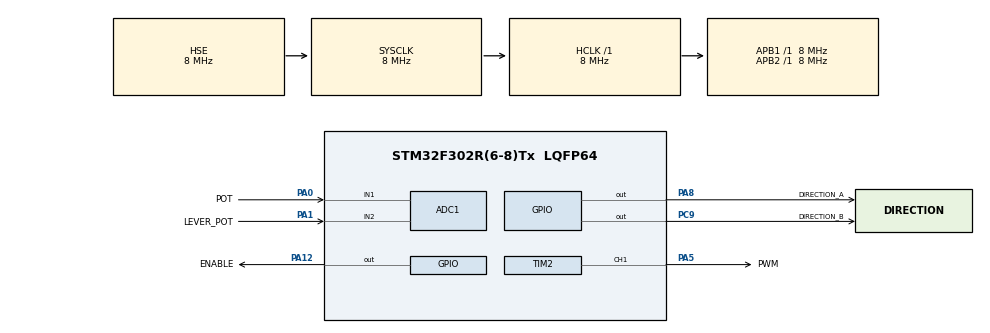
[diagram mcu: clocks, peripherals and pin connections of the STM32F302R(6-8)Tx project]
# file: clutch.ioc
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ADC1.Channel-0\#ChannelRegularConversion=ADC_CHANNEL_1
ADC1.Channel-1\#ChannelRegularConversion=ADC_CHANNEL_2
ADC1.ClockPrescaler=ADC_CLOCK_ASYNC_DIV1
ADC1.ContinuousConvMode=ENABLE
ADC1.DMAContinuousRequests=ENABLE
ADC1.NbrOfConversion=2
ADC1.NbrOfConversionFlag=1
ADC1.Offset-0\#ChannelRegularConversion=0
ADC1.Offset-1\#ChannelRegularConversion=0
ADC1.OffsetNumber-0\#ChannelRegularConversion=ADC_OFFSET_NONE
ADC1.OffsetNumber-1\#ChannelRegularConversion=ADC_OFFSET_NONE
ADC1.Rank-0\#ChannelRegularConversion=1
ADC1.Rank-1\#ChannelRegularConversion=2
ADC1.SamplingTime-0\#ChannelRegularConversion=ADC_SAMPLETIME_61CYCLES_5
ADC1.SamplingTime-1\#ChannelRegularConversion=ADC_SAMPLETIME_181CYCLES_5
ADC1.SamplingTimeOPAMP-1\#ChannelRegularConversion=ADC_SAMPLETIME_1CYCLE_5
ADC1.SubFamily=STM32F302x8
ADC1.master=1
Dma.ADC1.0.Direction=DMA_PERIPH_TO_MEMORY
Dma.ADC1.0.Instance=DMA1_Channel1
Dma.ADC1.0.MemDataAlignment=DMA_MDATAALIGN_HALFWORD
Dma.ADC1.0.MemInc=DMA_MINC_ENABLE
Dma.ADC1.0.Mode=DMA_CIRCULAR
Dma.ADC1.0.PeriphDataAlignment=DMA_PDATAALIGN_HALFWORD
Dma.ADC1.0.PeriphInc=DMA_PINC_DISABLE
Dma.ADC1.0.Priority=DMA_PRIORITY_LOW
Dma.Request0=ADC1
Mcu.Family=STM32F3
Mcu.Name=STM32F302R(6-8)Tx
Mcu.Package=LQFP64
NVIC.DMA1_Channel1_IRQn=true\:0\:0\:false\:false\:true\:false\:true\:true
NVIC.PriorityGroup=NVIC_PRIORITYGROUP_4
NVIC.TIM6_DAC_IRQn=true\:0\:0\:false\:false\:true\:true\:true\:true
PA0.GPIO_Label=POT
PA0.Mode=IN1-Single-Ended
PA0.Signal=ADC1_IN1
PA1.GPIO_Label=LEVER_POT
PA1.Mode=IN2-Single-Ended
PA1.Signal=ADC1_IN2
PA12.GPIO_Label=ENABLE
PA12.PinState=GPIO_PIN_SET
PA12.Signal=GPIO_Output
PA5.GPIO_Label=PWM
PA5.Signal=S_TIM2_CH1_ETR
PA8.GPIO_Label=DIRECTION_A
PA8.GPIO_Speed=GPIO_SPEED_FREQ_HIGH
PA8.Signal=GPIO_Output
PC9.GPIO_Label=DIRECTION_B
PC9.GPIO_Speed=GPIO_SPEED_FREQ_HIGH
PC9.Signal=GPIO_Output
PF0-OSC_IN.Mode=HSE-External-Oscillator
PF0-OSC_IN.Signal=RCC_OSC_IN
PF1-OSC_OUT.Mode=HSE-External-Oscillator
PF1-OSC_OUT.Signal=RCC_OSC_OUT
ProjectManager.HeapSize=0x200
ProjectManager.StackSize=0x400
ProjectManager.TargetToolchain=STM32CubeIDE
RCC.ADC12PRES=RCC_ADC1PLLCLK_DIV8
RCC.AHBFreq_Value=8000000
RCC.APB1Freq_Value=8000000
RCC.APB1TimFreq_Value=8000000
RCC.APB2Freq_Value=8000000
RCC.APB2TimFreq_Value=8000000
RCC.CortexFreq_Value=8000000
RCC.HCLKFreq_Value=8000000
RCC.HSE_VALUE=8000000
RCC.HSI_VALUE=8000000
RCC.LSE_VALUE=32768
RCC.PLLMUL=RCC_PLL_MUL4
RCC.SYSCLKFreq_VALUE=8000000
RCC.SYSCLKSourceVirtual=RCC_SYSCLKSOURCE_HSE
RCC.USBFreq_Value=16000000
SH.S_TIM2_CH1_ETR.0=TIM2_CH1,PWM Generation1 CH1
TIM2.Channel-PWM\ Generation1\ CH1=TIM_CHANNEL_1
TIM2.Period=100-1
TIM2.Prescaler=8-1
TIM6.Period=10-1
TIM6.Prescaler=100-1
VP_TIM6_VS_ClockSourceINT.Mode=Enable_Timer
board=custom

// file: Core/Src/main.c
/* USER CODE BEGIN Header */
/**
  ******************************************************************************
  * @file           : main.c
  * @brief          : Main program body
  ******************************************************************************
  * @attention
  *
  * Copyright (c) 2022 STMicroelectronics.
  * All rights reserved.
  *
  * This software is licensed under terms that can be found in the LICENSE file
  * in the root directory of this software component.
  * If no LICENSE file comes with this software, it is provided AS-IS.
  *
  ******************************************************************************
  */
/* USER CODE END Header */
#include "main.h"

/* USER CODE BEGIN PD */
#define POT 0
#define LEVER 1
#define CURRENT 2
/* USER CODE END PD */

 ADC_HandleTypeDef hadc1;
DMA_HandleTypeDef hdma_adc1;

TIM_HandleTypeDef htim2;
TIM_HandleTypeDef htim6;

void SystemClock_Config(void);
static void MX_GPIO_Init(void);
static void MX_DMA_Init(void);
static void MX_ADC1_Init(void);
static void MX_TIM2_Init(void);
static void MX_TIM6_Init(void);

/* USER CODE BEGIN 0 */
//SET Direction

//PID
const PIDSaturation saturations = {
	min: 0.2f,
	max: 0.8f,
};

const PIDParameters parameters = {
	p: 7.53f * 3.0f*3.0f,
	i: 8.6f * 3.0f,
	d: 1.4f * 1.5f,
};

const float sampleTime = 1.0f / 80000.0f;
const float tau =1.0f / 14565.0f;
PID pid;

//CLUTCH
const ClutchIndexes indexes = {
	motorPotentiometer: POT,
	lever: LEVER,
	//current: CURRENT,
};

Clutch clutch;

// ADC arrays
AdcValue ADC_values[BUFFER_LENGTH];

/* USER CODE END 0 */

int main(void)
{

  /* MCU Configuration--------------------------------------------------------*/

  /* Reset of all peripherals, Initializes the Flash interface and the Systick. */
  HAL_Init();

  /* Configure the system clock */
  SystemClock_Config();

  /* Initialize all configured peripherals */
  MX_GPIO_Init();
  MX_DMA_Init();
  MX_ADC1_Init();
  MX_TIM2_Init();
  MX_TIM6_Init();
  /* USER CODE BEGIN 2 */
	pid = PIDInit(
		saturations,
		parameters,
		sampleTime,
		tau
	);

	ClutchPID clutchPID = {
		pid1: &pid,
	};

	clutch = clutchInit(indexes, clutchPID, ADC_values);

  HAL_ADC_Start_DMA(&hadc1, (uint16_t *)ADC_values, BUFFER_LENGTH);

  HAL_TIM_Base_Start(&htim2); // TIM2 Start
  HAL_TIM_PWM_Start(&htim2, TIM_CHANNEL_1); // PWM Start on TIM2
  HAL_TIM_Base_Start_IT(&htim6); // PID Sampling timer start
  /* USER CODE END 2 */

  /* Infinite loop */
  /* USER CODE BEGIN WHILE */
  while (1) {}
  /* USER CODE END 3 */
}

void SystemClock_Config(void)
{
  RCC_OscInitTypeDef RCC_OscInitStruct = {0};
  RCC_ClkInitTypeDef RCC_ClkInitStruct = {0};
  RCC_PeriphCLKInitTypeDef PeriphClkInit = {0};

  /** Initializes the RCC Oscillators according to the specified parameters
  * in the RCC_OscInitTypeDef structure.
  */
  RCC_OscInitStruct.OscillatorType = RCC_OSCILLATORTYPE_HSI|RCC_OSCILLATORTYPE_HSE;
  RCC_OscInitStruct.HSEState = RCC_HSE_ON;
  RCC_OscInitStruct.HSIState = RCC_HSI_ON;
  RCC_OscInitStruct.HSICalibrationValue = RCC_HSICALIBRATION_DEFAULT;
  RCC_OscInitStruct.PLL.PLLState = RCC_PLL_ON;
  RCC_OscInitStruct.PLL.PLLSource = RCC_PLLSOURCE_HSI;
  RCC_OscInitStruct.PLL.PLLMUL = RCC_PLL_MUL4;
  if (HAL_RCC_OscConfig(&RCC_OscInitStruct) != HAL_OK)
  {
    Error_Handler();
  }

  /** Initializes the CPU, AHB and APB buses clocks
  */
  RCC_ClkInitStruct.ClockType = RCC_CLOCKTYPE_HCLK|RCC_CLOCKTYPE_SYSCLK
                              |RCC_CLOCKTYPE_PCLK1|RCC_CLOCKTYPE_PCLK2;
  RCC_ClkInitStruct.SYSCLKSource = RCC_SYSCLKSOURCE_HSE;
  RCC_ClkInitStruct.AHBCLKDivider = RCC_SYSCLK_DIV1;
  RCC_ClkInitStruct.APB1CLKDivider = RCC_HCLK_DIV1;
  RCC_ClkInitStruct.APB2CLKDivider = RCC_HCLK_DIV1;

  if (HAL_RCC_ClockConfig(&RCC_ClkInitStruct, FLASH_LATENCY_0) != HAL_OK)
  {
    Error_Handler();
  }
  PeriphClkInit.PeriphClockSelection = RCC_PERIPHCLK_ADC1;
  PeriphClkInit.Adc1ClockSelection = RCC_ADC1PLLCLK_DIV8;

  if (HAL_RCCEx_PeriphCLKConfig(&PeriphClkInit) != HAL_OK)
  {
    Error_Handler();
  }
}

static void MX_ADC1_Init(void)
{

  ADC_ChannelConfTypeDef sConfig = {0};

  /** Common config
  */
  hadc1.Instance = ADC1;
  hadc1.Init.ClockPrescaler = ADC_CLOCK_ASYNC_DIV1;
  hadc1.Init.Resolution = ADC_RESOLUTION_12B;
  hadc1.Init.ScanConvMode = ADC_SCAN_ENABLE;
  hadc1.Init.ContinuousConvMode = ENABLE;
  hadc1.Init.DiscontinuousConvMode = DISABLE;
  hadc1.Init.ExternalTrigConvEdge = ADC_EXTERNALTRIGCONVEDGE_NONE;
  hadc1.Init.ExternalTrigConv = ADC_SOFTWARE_START;
  hadc1.Init.DataAlign = ADC_DATAALIGN_RIGHT;
  hadc1.Init.NbrOfConversion = 2;
  hadc1.Init.DMAContinuousRequests = ENABLE;
  hadc1.Init.EOCSelection = ADC_EOC_SINGLE_CONV;
  hadc1.Init.LowPowerAutoWait = DISABLE;
  hadc1.Init.Overrun = ADC_OVR_DATA_OVERWRITTEN;
  if (HAL_ADC_Init(&hadc1) != HAL_OK)
  {
    Error_Handler();
  }

  /** Configure Regular Channel
  */
  sConfig.Channel = ADC_CHANNEL_1;
  sConfig.Rank = ADC_REGULAR_RANK_1;
  sConfig.SingleDiff = ADC_SINGLE_ENDED;
  sConfig.SamplingTime = ADC_SAMPLETIME_61CYCLES_5;
  sConfig.OffsetNumber = ADC_OFFSET_NONE;
  sConfig.Offset = 0;
  if (HAL_ADC_ConfigChannel(&hadc1, &sConfig) != HAL_OK)
  {
    Error_Handler();
  }

  /** Configure Regular Channel
  */
  sConfig.Channel = ADC_CHANNEL_2;
  sConfig.Rank = ADC_REGULAR_RANK_2;
  sConfig.SamplingTime = ADC_SAMPLETIME_181CYCLES_5;
  if (HAL_ADC_ConfigChannel(&hadc1, &sConfig) != HAL_OK)
  {
    Error_Handler();
  }

}

static void MX_TIM2_Init(void)
{

  TIM_MasterConfigTypeDef sMasterConfig = {0};
  TIM_OC_InitTypeDef sConfigOC = {0};

  htim2.Instance = TIM2;
  htim2.Init.Prescaler = 8-1;
  htim2.Init.CounterMode = TIM_COUNTERMODE_UP;
  htim2.Init.Period = 100-1;
  htim2.Init.ClockDivision = TIM_CLOCKDIVISION_DIV1;
  htim2.Init.AutoReloadPreload = TIM_AUTORELOAD_PRELOAD_DISABLE;
  if (HAL_TIM_PWM_Init(&htim2) != HAL_OK)
  {
    Error_Handler();
  }
  sMasterConfig.MasterOutputTrigger = TIM_TRGO_RESET;
  sMasterConfig.MasterSlaveMode = TIM_MASTERSLAVEMODE_DISABLE;
  if (HAL_TIMEx_MasterConfigSynchronization(&htim2, &sMasterConfig) != HAL_OK)
  {
    Error_Handler();
  }
  sConfigOC.OCMode = TIM_OCMODE_PWM1;
  sConfigOC.Pulse = 0;
  sConfigOC.OCPolarity = TIM_OCPOLARITY_HIGH;
  sConfigOC.OCFastMode = TIM_OCFAST_DISABLE;
  if (HAL_TIM_PWM_ConfigChannel(&htim2, &sConfigOC, TIM_CHANNEL_1) != HAL_OK)
  {
    Error_Handler();
  }
  HAL_TIM_MspPostInit(&htim2);

}

static void MX_TIM6_Init(void)
{

  TIM_MasterConfigTypeDef sMasterConfig = {0};

  htim6.Instance = TIM6;
  htim6.Init.Prescaler = 100-1;
  htim6.Init.CounterMode = TIM_COUNTERMODE_UP;
  htim6.Init.Period = 10-1;
  htim6.Init.AutoReloadPreload = TIM_AUTORELOAD_PRELOAD_DISABLE;
  if (HAL_TIM_Base_Init(&htim6) != HAL_OK)
  {
    Error_Handler();
  }
  sMasterConfig.MasterOutputTrigger = TIM_TRGO_RESET;
  sMasterConfig.MasterSlaveMode = TIM_MASTERSLAVEMODE_DISABLE;
  if (HAL_TIMEx_MasterConfigSynchronization(&htim6, &sMasterConfig) != HAL_OK)
  {
    Error_Handler();
  }

}

static void MX_DMA_Init(void)
{

  /* DMA controller clock enable */
  __HAL_RCC_DMA1_CLK_ENABLE();

  /* DMA interrupt init */
  /* DMA1_Channel1_IRQn interrupt configuration */
  HAL_NVIC_SetPriority(DMA1_Channel1_IRQn, 0, 0);
  HAL_NVIC_EnableIRQ(DMA1_Channel1_IRQn);

}

static void MX_GPIO_Init(void)
{
  GPIO_InitTypeDef GPIO_InitStruct = {0};

  /* GPIO Ports Clock Enable */
  __HAL_RCC_GPIOF_CLK_ENABLE();
  __HAL_RCC_GPIOA_CLK_ENABLE();
  __HAL_RCC_GPIOC_CLK_ENABLE();

  /*Configure GPIO pin Output Level */
  HAL_GPIO_WritePin(DIRECTION_B_GPIO_Port, DIRECTION_B_Pin, GPIO_PIN_RESET);

  /*Configure GPIO pin Output Level */
  HAL_GPIO_WritePin(DIRECTION_A_GPIO_Port, DIRECTION_A_Pin, GPIO_PIN_RESET);

  /*Configure GPIO pin Output Level */
  HAL_GPIO_WritePin(ENABLE_GPIO_Port, ENABLE_Pin, GPIO_PIN_SET);

  /*Configure GPIO pin : DIRECTION_B_Pin */
  GPIO_InitStruct.Pin = DIRECTION_B_Pin;
  GPIO_InitStruct.Mode = GPIO_MODE_OUTPUT_PP;
  GPIO_InitStruct.Pull = GPIO_NOPULL;
  GPIO_InitStruct.Speed = GPIO_SPEED_FREQ_HIGH;
  HAL_GPIO_Init(DIRECTION_B_GPIO_Port, &GPIO_InitStruct);

  /*Configure GPIO pin : DIRECTION_A_Pin */
  GPIO_InitStruct.Pin = DIRECTION_A_Pin;
  GPIO_InitStruct.Mode = GPIO_MODE_OUTPUT_PP;
  GPIO_InitStruct.Pull = GPIO_NOPULL;
  GPIO_InitStruct.Speed = GPIO_SPEED_FREQ_HIGH;
  HAL_GPIO_Init(DIRECTION_A_GPIO_Port, &GPIO_InitStruct);

  /*Configure GPIO pin : ENABLE_Pin */
  GPIO_InitStruct.Pin = ENABLE_Pin;
  GPIO_InitStruct.Mode = GPIO_MODE_OUTPUT_PP;
  GPIO_InitStruct.Pull = GPIO_NOPULL;
  GPIO_InitStruct.Speed = GPIO_SPEED_FREQ_LOW;
  HAL_GPIO_Init(ENABLE_GPIO_Port, &GPIO_InitStruct);

}

void Error_Handler(void)
{
  __disable_irq();
  while (1)
  {
  }
}
